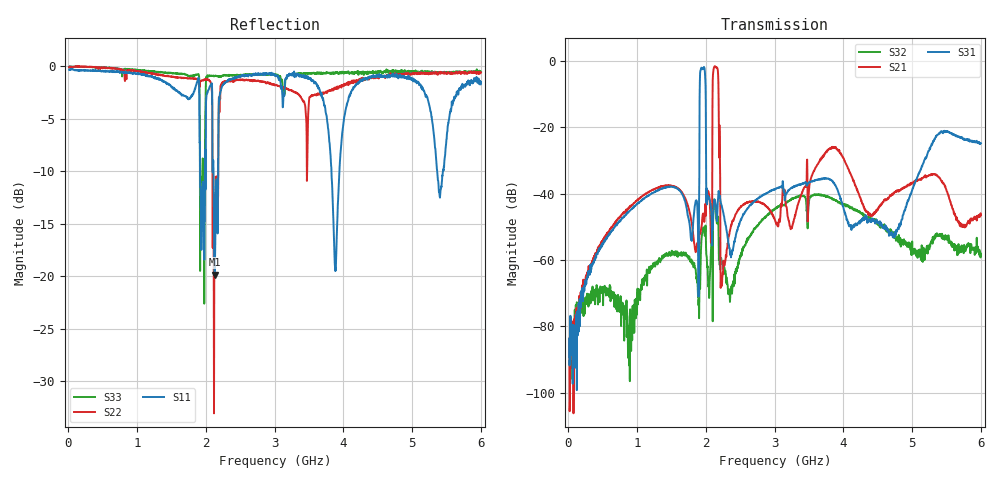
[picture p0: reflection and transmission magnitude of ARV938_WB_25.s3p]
! TDS: K:\Engsetup\Winsaw\TQQ7101DS
! Channel 2
! Ports=1 2 3
! FreqRange: 10.0000,6000.0000
! Points=1601
! FailCode=0
! Topology=ALL_SE(123)
# MHz S DB R 50
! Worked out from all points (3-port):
!   1601 points, 10 MHz to 6 GHz, reference 50 ohm
!   strongest paths, dB at 10 MHz, 1.508 GHz, 3.005 GHz, 4.503 GHz, 6 GHz:
!     S31: -83.8, -37.9, -38.5, -48.6, -24.8
!     S21: -84.7, -37.6, -47.9, -44.6, -46.5
!     S32: -87.3, -58.2, -44.4, -49.4, -58.3
!   lowest |S11| = -19.8 dB at 2.125 GHz (marker M1), VSWR 1.23, Z = 43.9 - j7.41 ohm
!   |S11| at or under -10 dB: 1.914 GHz to 1.986 GHz (71.14 MHz wide, 3.65 % of centre); 3.826 GHz to 3.941 GHz (114.6 MHz wide, 2.95 % of centre); 5.364 GHz to 5.448 GHz (83.16 MHz wide, 1.54 % of centre)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
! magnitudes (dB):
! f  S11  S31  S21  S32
! 10 MHz  -0.3  -83.8  -84.7  -87.3
! 1.099 GHz  -0.8  -41.5  -40.4  -67.5
! 1.792 GHz  -2.8  -53.6  -48.6  -60.7
! 1.949 GHz  -11.5  -2.4  -47.1  -51.4
! 2.062 GHz  -1.8  -42.6  -45.0  -63.7
! 2.125 GHz  -19.8  -41.7  -1.6  -42.3
! 2.241 GHz  -1.8  -44.7  -64.8  -61.1
! 3.005 GHz  -0.8  -38.5  -47.9  -44.4
! 4.731 GHz  -0.9  -52.9  -40.0  -51.9
! 6 GHz  -1.5  -24.8  -46.5  -58.3
